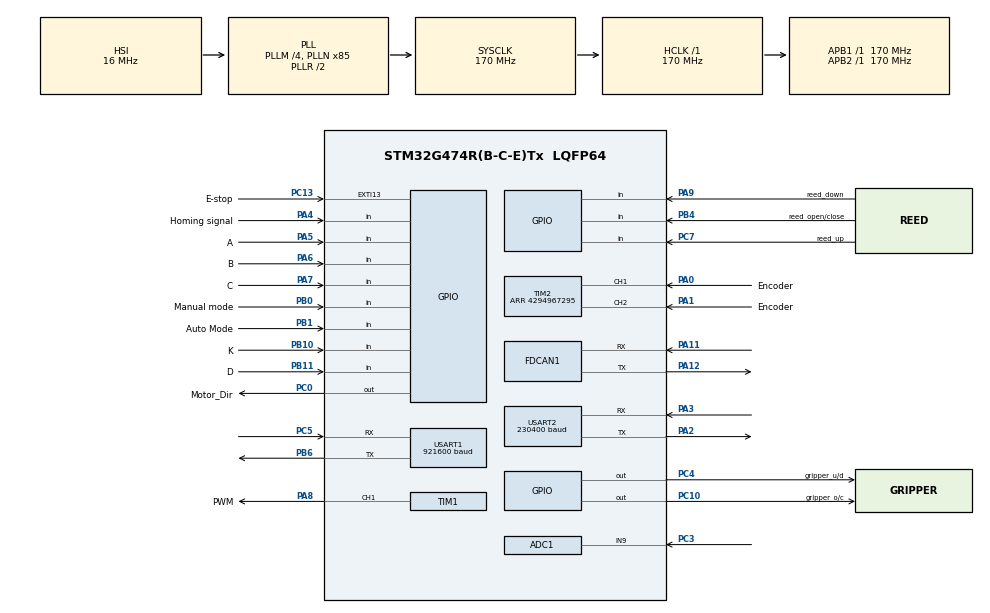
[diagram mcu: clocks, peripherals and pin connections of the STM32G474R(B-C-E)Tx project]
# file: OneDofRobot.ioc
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ADC1.Channel-0\#ChannelRegularConversion=ADC_CHANNEL_9
ADC1.NbrOfConversionFlag=1
ADC1.OffsetNumber-0\#ChannelRegularConversion=ADC_OFFSET_NONE
ADC1.Rank-0\#ChannelRegularConversion=1
ADC1.SamplingTime-0\#ChannelRegularConversion=ADC_SAMPLETIME_640CYCLES_5
ADC1.master=1
FDCAN1.AutoRetransmission=ENABLE
FDCAN1.CalculateBaudRateNominal=500000
FDCAN1.CalculateTimeBitNominal=2000
FDCAN1.CalculateTimeQuantumNominal=200.0
FDCAN1.NominalPrescaler=34
FDCAN1.NominalTimeSeg1=7
FDCAN1.NominalTimeSeg2=2
FDCAN1.StdFiltersNbr=5
Mcu.Family=STM32G4
Mcu.Name=STM32G474R(B-C-E)Tx
Mcu.Package=LQFP64
NVIC.EXTI15_10_IRQn=true\:0\:0\:false\:false\:true\:true\:true\:true
NVIC.PriorityGroup=NVIC_PRIORITYGROUP_4
NVIC.TIM6_DAC_IRQn=true\:1\:0\:true\:false\:true\:true\:true\:true
NVIC.USART2_IRQn=true\:0\:0\:false\:false\:true\:true\:true\:true
PA0.GPIO_Label=Encoder
PA0.Signal=S_TIM2_CH1
PA1.GPIO_Label=Encoder
PA1.Signal=S_TIM2_CH2
PA11.Mode=FDCAN_Activate
PA11.Signal=FDCAN1_RX
PA12.Mode=FDCAN_Activate
PA12.Signal=FDCAN1_TX
PA13.GPIO_Label=T_SWDIO
PA13.Mode=Trace_Asynchronous_SW
PA13.Signal=SYS_JTMS-SWDIO
PA14.GPIO_Label=T_SWCLK
PA14.Mode=Trace_Asynchronous_SW
PA14.Signal=SYS_JTCK-SWCLK
PA2.Mode=Asynchronous
PA2.Signal=USART2_TX
PA3.Mode=Asynchronous
PA3.Signal=USART2_RX
PA4.GPIO_Label=Homing signal
PA4.Signal=GPIO_Input
PA5.GPIO_Label=A
PA5.Signal=GPIO_Input
PA6.GPIO_Label=B
PA6.Signal=GPIO_Input
PA7.GPIO_Label=C
PA7.Signal=GPIO_Input
PA8.GPIO_Label=PWM
PA8.Signal=S_TIM1_CH1
PA9.GPIO_Label=reed_down
PA9.GPIO_PuPd=GPIO_PULLUP
PA9.Signal=GPIO_Input
PB0.GPIO_Label=Manual mode
PB0.GPIO_PuPd=GPIO_PULLUP
PB0.Signal=GPIO_Input
PB1.GPIO_Label=Auto Mode
PB1.GPIO_PuPd=GPIO_PULLUP
PB1.Signal=GPIO_Input
PB10.GPIO_Label=K
PB10.Signal=GPIO_Input
PB11.GPIO_Label=D
PB11.Signal=GPIO_Input
PB3.GPIO_Label=T_SWO
PB3.Mode=Trace_Asynchronous_SW
PB3.Signal=SYS_JTDO-SWO
PB4.GPIO_Label=reed_open/close
PB4.GPIO_PuPd=GPIO_PULLUP
PB4.Signal=GPIO_Input
PB6.Mode=Asynchronous
PB6.Signal=USART1_TX
PC0.GPIO_Label=Motor_Dir
PC0.Signal=GPIO_Output
PC10.GPIO_Label=gripper_o/c
PC10.PinState=GPIO_PIN_SET
PC10.Signal=GPIO_Output
PC13.GPIO_Label=E-stop
PC13.GPIO_ModeDefaultEXTI=GPIO_MODE_IT_RISING_FALLING
PC13.GPIO_PuPd=GPIO_PULLUP
PC13.Signal=GPXTI13
PC14-OSC32_IN.GPIO_Label=RCC_OSC32_IN
PC14-OSC32_IN.Signal=RCC_OSC32_IN
PC15-OSC32_OUT.GPIO_Label=RCC_OSC32_OUT
PC15-OSC32_OUT.Signal=RCC_OSC32_OUT
PC3.Mode=IN9-Single-Ended
PC3.Signal=ADC1_IN9
PC4.GPIO_Label=gripper_u/d
PC4.PinState=GPIO_PIN_SET
PC4.Signal=GPIO_Output
PC5.Mode=Asynchronous
PC5.Signal=USART1_RX
PC7.GPIO_Label=reed_up
PC7.GPIO_PuPd=GPIO_PULLUP
PC7.Signal=GPIO_Input
PF0-OSC_IN.GPIO_Label=RCC_OSC_IN
PF0-OSC_IN.Signal=RCC_OSC_IN
PF1-OSC_OUT.GPIO_Label=RCC_OSC_OUT
PF1-OSC_OUT.Signal=RCC_OSC_OUT
ProjectManager.HeapSize=0x200
ProjectManager.StackSize=0x400
ProjectManager.TargetToolchain=STM32CubeIDE
RCC.ADC12Freq_Value=170000000
RCC.ADC345Freq_Value=170000000
RCC.AHBFreq_Value=170000000
RCC.APB1Freq_Value=170000000
RCC.APB1TimFreq_Value=170000000
RCC.APB2Freq_Value=170000000
RCC.APB2TimFreq_Value=170000000
RCC.CortexFreq_Value=170000000
RCC.EXTERNAL_CLOCK_VALUE=12288000
RCC.HCLKFreq_Value=170000000
RCC.HSE_VALUE=24000000
RCC.HSI48_VALUE=48000000
RCC.HSI_VALUE=16000000
RCC.LSE_VALUE=32768
RCC.PLLM=RCC_PLLM_DIV4
RCC.PLLN=85
RCC.RTCClockSelection=RCC_RTCCLKSOURCE_LSE
RCC.SYSCLKFreq_VALUE=170000000
RCC.SYSCLKSource=RCC_SYSCLKSOURCE_PLLCLK
RCC.USBFreq_Value=170000000
RCC.VCOOutputFreq_Value=340000000
SH.S_TIM1_CH1.0=TIM1_CH1,PWM Generation1 CH1
SH.S_TIM2_CH1.0=TIM2_CH1,Encoder_Interface
SH.S_TIM2_CH2.0=TIM2_CH2,Encoder_Interface
TIM1.Channel-PWM\ Generation1\ CH1=TIM_CHANNEL_1
TIM1.PeriodNoDither=9999
TIM1.Prescaler=9
TIM2.EncoderMode=TIM_ENCODERMODE_TI12
TIM2.IC2Polarity=TIM_ICPOLARITY_RISING
TIM2.PeriodNoDither=4294967295
TIM6.PeriodNoDither=999
TIM6.Prescaler=169
USART1.BaudRate=921600
USART1.VirtualMode-Asynchronous=VM_ASYNC
USART1.WordLength=WORDLENGTH_8B
USART2.BaudRate=230400
USART2.FIFOMode=FIFOMODE_ENABLE
USART2.Parity=PARITY_EVEN
USART2.VirtualMode-Asynchronous=VM_ASYNC
USART2.WordLength=WORDLENGTH_9B
VP_SYS_VS_DBSignals.Mode=DisableDeadBatterySignals
VP_TIM1_VS_ClockSourceINT.Mode=Internal
VP_TIM6_VS_ClockSourceINT.Mode=Enable_Timer
board=NUCLEO-G474RE

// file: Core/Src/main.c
/* USER CODE BEGIN Header */
/**
  ******************************************************************************
  * @file           : main.c
  * @brief          : Main program body
  ******************************************************************************
  * @attention
  *
  * Copyright (c) 2026 STMicroelectronics.
  * All rights reserved.
  *
  * This software is licensed under terms that can be found in the LICENSE file
  * in the root directory of this software component.
  * If no LICENSE file comes with this software, it is provided AS-IS.
  *
  ******************************************************************************
  */
/* USER CODE END Header */
#include "main.h"

/* USER CODE BEGIN Includes */
#include <stdio.h>            /* snprintf — USART1 stream → MATLAB              */
#include "base_system.h"      /* Register map, SystemMode_t, modbus_registers[] */
#include "cascade_control.h"
#include "trajectory.h"
#include "encoder.h"
#include "dashboard.h"        /* Manual Mode Dashboard (Modbus ↔ PC)           */
#include "auto_mission.h"     /* Pick & Place Auto Mission (MODE_AUTO)          */
#include "homing.h"           /* Force-Homing state machine (MODE_HOMING)       */
#include "gripper.h"          /* Gripper: PC4=arm PC10=jaw + reed feedback      */
#include "can_gripper.h"      /* CAN relay node backend for gripper outputs     */
#include "test_mode.h"        /* Performance & Precision test (MODE_TEST)       */
#include "joystick.h"         /* Funduino Joystick Shield (MODE_MANUAL only)    */
#include "volt_test.h"        /* Open-loop voltage excitation (Lab 1 ID)        */
/* USER CODE END Includes */

ADC_HandleTypeDef hadc1;

FDCAN_HandleTypeDef hfdcan1;

TIM_HandleTypeDef htim1;
TIM_HandleTypeDef htim2;
TIM_HandleTypeDef htim6;

UART_HandleTypeDef huart1;
UART_HandleTypeDef huart2;

/* USER CODE BEGIN PV */
int reed_up = 0;
int reed_down = 0;
int reed_close_open = 0;
/* ── Internal Temperature Sensor ─────────────────────────────────────────
 * ดูค่าได้ใน Live Expressions: chip_temp_C
 * G474 internal sensor: ADC1 CH16, cal @ VDDA=3.0V
 * ───────────────────────────────────────────────────────────────────────*/
volatile float chip_temp_C = 0.0f;

/* ── Live Expressions: operating mode & emergency ────────────────────────
 * ดูค่าใน Live Expressions:
 *   debug_op_mode  → 0=Homing 1=Auto 2=Manual 3=Test
 *   debug_selector → 0=Manual 1=Auto  (physical switch)
 *   debug_estop    → 0=OK  1=Emergency active
 * ───────────────────────────────────────────────────────────────────────*/
volatile uint8_t debug_op_mode  = 0;
volatile uint8_t debug_selector = 0;
volatile uint8_t debug_estop    = 0;

Encoder_t henc2;

/* SystemMode_t typedef อยู่ใน base_system.h
 * ประกาศ definition ที่นี่ — base_system.h มี extern declaration แล้ว */
volatile SelectorMode_t selector_mode      = SELECTOR_MANUAL; /* physical switch */
volatile SystemMode_t   current_system_mode = MODE_HOMING;    /* actual mode     */

uint8_t rx_buffer[128];

DMA_HandleTypeDef hdma_usart1_tx;   /* USART1 TX DMA (legacy, ไม่ใช้แล้ว — ย้ายไป USART2) */

/* ── Analysis sub-mode (แก้ผ่าน CubeIDE debugger / Live Expressions เท่านั้น) ──
 *  0 = DASHBOARD (default) → MANUAL ใช้ Modbus ปกติ (dashboard.py)
 *  1 = ANALYSIS           → MANUAL stream CSV ออก USART2 แทน Modbus (เก็บค่า sys ID)
 *  ทำงานเฉพาะ MODE_MANUAL — โหมดอื่น (AUTO/HOMING) ไม่สน                            */
volatile uint8_t analysis_mode = 0;

/* ── สั่ง move ใน analysis mode ผ่าน Live Expressions ────────────────────────
 *  เขียน cmd_deg = องศาเป้าหมาย → หุ่นวิ่งไป (Septic move + cascade AUTO gains)
 *  ใช้สำหรับเก็บ step/move response ทำ sys ID                                   */
volatile float cmd_deg = 0.0f;

/* USER CODE END PV */

void SystemClock_Config(void);
static void MX_GPIO_Init(void);
static void MX_TIM1_Init(void);
static void MX_TIM2_Init(void);
static void MX_TIM6_Init(void);
static void MX_USART2_UART_Init(void);
static void MX_FDCAN1_Init(void);
static void MX_ADC1_Init(void);
static void MX_USART1_UART_Init(void);
/* USER CODE BEGIN PFP */
//Update_Telemetry_To_PC(void);
static void Stream_Update(void);   /* USART1 stream → MATLAB (นิยามใน USER CODE 4) */
static void Stream_DMA_Init(void); /* USART1 TX DMA init */
static void Analysis_Control(void); /* analysis mode: สั่ง move ตาม cmd_deg */
/* USER CODE END PFP */

/* USER CODE BEGIN 0 */

/* ═══════════════════════════════════════════════════════════════════════════
 *  Internal Temperature Sensor — ADC1 CH16 + DMA1 CH1 (bare-metal)
 *
 *  Mode: Continuous conversion + DMA Circular
 *        ADC แปลงตลอดเวลา, DMA เขียนลง adc_dma_buf อัตโนมัติ
 *        TempSensor_Update() ไม่ block — แค่อ่าน buffer แล้วคำนวณ
 *
 *  Clock:    HCLK/4 = 170/4 = 42.5 MHz  (≤ 52 MHz ✓)
 *  Sampling: 640.5 cycles ≈ 15 µs  (datasheet req ≥ 5 µs ✓)
 *  DMA:      DMA1_Channel1, DMAMUX request = 5 (ADC1)
 *  Cal addr: TS_CAL1@30°C = 0x1FFF75A8, TS_CAL2@130°C = 0x1FFF75CA
 * ═══════════════════════════════════════════════════════════════════════════ */
static volatile uint16_t adc_dma_buf = 0;  /* DMA เขียนค่า raw ลงตรงนี้ */

static void TempSensor_Init(void)
{
    /* ── 1. เปิด Clock: ADC12, DMA1, DMAMUX1 ─────────────────────────────── */
    RCC->AHB2ENR |= RCC_AHB2ENR_ADC12EN;
    RCC->AHB1ENR |= RCC_AHB1ENR_DMA1EN | RCC_AHB1ENR_DMAMUX1EN;

    /* ── 2. ADC clock = HCLK/4 (CKMODE=11) ──────────────────────────────── */
    ADC12_COMMON->CCR = (3UL << ADC_CCR_CKMODE_Pos);

    /* ── 3. ออกจาก Deep Power-Down + เปิด Voltage Regulator ─────────────── */
    ADC1->CR &= ~ADC_CR_DEEPPWD;
    ADC1->CR |=  ADC_CR_ADVREGEN;
    for (volatile uint32_t i = 0; i < 5000; i++);      /* ≥ 20 µs @ 170 MHz */

    /* ── 4. เปิด Temperature Sensor + รอ stable ─────────────────────────── */
    /* ADC_CCR_TSEN = bit 23 (ไม่มีใน CMSIS header เพราะ HAL_ADC ไม่ได้ enable) */
    ADC12_COMMON->CCR |= (1UL << 23U);
    for (volatile uint32_t i = 0; i < 30000; i++);     /* ≥ 120 µs stabilize */

    /* ── 5. Calibration (single-ended) ──────────────────────────────────── */
    ADC1->CR &= ~ADC_CR_ADCALDIF;
    ADC1->CR |=  ADC_CR_ADCAL;
    while (ADC1->CR & ADC_CR_ADCAL);

    /* ── 6. Config DMA1_Channel1 → ADC1 (DMAMUX request = 5) ─────────────
     *   Peripheral → Memory, 16-bit, Circular, ไม่ increment memory
     * ─────────────────────────────────────────────────────────────────────*/
    DMAMUX1_Channel0->CCR = 5UL;                        /* ADC1 request */

    DMA1_Channel1->CCR   = 0;
    DMA1_Channel1->CNDTR = 1;                           /* 1 element */
    DMA1_Channel1->CPAR  = (uint32_t)&ADC1->DR;        /* source: ADC data reg */
    DMA1_Channel1->CMAR  = (uint32_t)&adc_dma_buf;     /* dest: our buffer */
    DMA1_Channel1->CCR   = DMA_CCR_CIRC                 /* circular mode */
                          | DMA_CCR_PSIZE_0              /* peripheral 16-bit */
                          | DMA_CCR_MSIZE_0              /* memory 16-bit */
                          | DMA_CCR_EN;                  /* enable DMA */

    /* ── 7. Enable ADC ───────────────────────────────────────────────────── */
    ADC1->ISR |= ADC_ISR_ADRDY;
    ADC1->CR  |= ADC_CR_ADEN;
    while (!(ADC1->ISR & ADC_ISR_ADRDY));

    /* ── 8. Config ADC: Continuous + DMA Circular ───────────────────────── */
    ADC1->CFGR  = ADC_CFGR_CONT      /* continuous conversion */
                | ADC_CFGR_DMAEN     /* DMA enable */
                | ADC_CFGR_DMACFG;   /* DMA circular (ไม่หยุดหลัง 1 conv) */
    ADC1->CFGR2 = 0;

    /* ── 9. Sequence: 1 conv, Channel 16 (VSENSE), sampling 640.5 cyc ───── */
    ADC1->SQR1  = (16UL << ADC_SQR1_SQ1_Pos) | (0UL << ADC_SQR1_L_Pos);
    ADC1->SMPR2 = (7UL << ADC_SMPR2_SMP16_Pos);

    /* ── 10. Start — ADC วิ่งต่อเนื่อง, DMA อัปเดต adc_dma_buf เองตลอด ── */
    ADC1->CR |= ADC_CR_ADSTART;
}

static void TempSensor_Update(void)
{
    /* ไม่ block! — แค่อ่าน buffer ที่ DMA อัปเดตไว้ แล้วคำนวณ */
    uint16_t raw = adc_dma_buf;

    int32_t cal1 = (int32_t)(*(uint16_t*)0x1FFF75A8UL);   /* raw @ 30°C  */
    int32_t cal2 = (int32_t)(*(uint16_t*)0x1FFF75CAUL);   /* raw @ 130°C */

    chip_temp_C = (float)(130 - 30) * (float)((int32_t)raw - cal1)
                / (float)(cal2 - cal1) + 30.0f;
}

/* ── Modbus RTU Echo Filter (Content-based) ─────────────────────────────────
 *
 *  VCP loopback ทำให้ STM32 TX response วนกลับเข้า RX ทุกครั้งที่ส่ง
 *  ใช้ content-based filter แทน timing guard เพื่อความถูกต้องตามมาตรฐาน
 *
 *  ┌──────┬────────────────────────────────────────────────────────────────┐
 *  │ FC   │ วิธีกรอง echo                                                  │
 *  ├──────┼────────────────────────────────────────────────────────────────┤
 *  │ 0x03 │ Size-based: response มีขนาด ≠ 8  → drop                       │
 *  │ 0x06 │ Content-based: เปรียบ frame กับ modbus_echo_buf (one-shot)     │
 *  │ 0x10 │ Size-based: response มีขนาด == 8 → drop                       │
 *  └──────┴────────────────────────────────────────────────────────────────┘
 * ─────────────────────────────────────────────────────────────────────────*/
#include <string.h>   /* memcmp(), memcpy() */
static uint8_t frame_copy[128];

void HAL_UARTEx_RxEventCallback(UART_HandleTypeDef *huart, uint16_t Size)
{
    if (huart->Instance != USART2) return;

    if (Size < 8 || rx_buffer[0] != SLAVE_ID) {
        HAL_UARTEx_ReceiveToIdle_IT(&huart2, rx_buffer, sizeof(rx_buffer));
        return;
    }

    uint8_t fc = rx_buffer[1];

    /* ── Echo filter ── */
    uint8_t is_echo = 0;

    if (fc == 0x03 && Size != 8) {
        /* FC03 response: ขนาด 5+2N ≠ 8 → echo ของ response */
        is_echo = 1;
    }
    else if (fc == 0x10 && Size == 8) {
        /* FC16 response: ขนาดคงที่ 8 bytes → echo ของ response */
        is_echo = 1;
    }
    else if (fc == 0x06 && Size == 8) {
        /* FC06: request กับ response มีขนาดเท่ากัน (8 bytes)
         * ใช้ content + time window (50 ms) — ถ้า echo ไม่มาใน 50 ms
         * echo_valid expire แล้ว → frame นี้คือ request จริง ไม่ใช่ echo */
        if (modbus_echo_valid &&
            (HAL_GetTick() - modbus_echo_time) < 50U &&
            memcmp(rx_buffer, modbus_echo_buf, 8) == 0) {
            modbus_echo_valid = 0;   /* บริโภค echo แล้ว — request ถัดไปผ่านได้ */
            is_echo = 1;
        }
    }

    if (is_echo) {
        HAL_UARTEx_ReceiveToIdle_IT(&huart2, rx_buffer, sizeof(rx_buffer));
        return;
    }

    /* ── Process real request ── */
    uint16_t len = (Size > sizeof(frame_copy)) ? sizeof(frame_copy) : Size;
    memcpy(frame_copy, rx_buffer, len);

    HAL_UARTEx_ReceiveToIdle_IT(&huart2, rx_buffer, sizeof(rx_buffer));
    Modbus_Parse_Frame(frame_copy, len);
}

void HAL_UART_ErrorCallback(UART_HandleTypeDef *huart)
{
    if (huart->Instance == USART2) {
        /* clear error flags ทั้งหมด: ORE, FE, NE, PE */
        __HAL_UART_CLEAR_FLAG(&huart2,
            UART_CLEAR_OREF | UART_CLEAR_NEF |
            UART_CLEAR_FEF  | UART_CLEAR_PEF);
        HAL_UART_AbortReceive(&huart2);  /* reset HAL RX state */
        /* echo ที่กำลังรอรับถูก abort → clear echo_valid ป้องกัน
         * real request ถัดไปถูก drop ว่าเป็น echo ผิดๆ */
        modbus_echo_valid = 0;
        HAL_UARTEx_ReceiveToIdle_IT(&huart2, rx_buffer, sizeof(rx_buffer));
    }
}
/* USER CODE END 0 */

int main(void)
{

  /* MCU Configuration--------------------------------------------------------*/

  /* Reset of all peripherals, Initializes the Flash interface and the Systick. */
  HAL_Init();

  /* Configure the system clock */
  SystemClock_Config();

  /* Initialize all configured peripherals */
  MX_GPIO_Init();
  MX_TIM1_Init();
  MX_TIM2_Init();
  MX_TIM6_Init();
  MX_USART2_UART_Init();
  MX_FDCAN1_Init();
  MX_ADC1_Init();
  MX_USART1_UART_Init();
  /* USER CODE BEGIN 2 */

  /* ── Heartbeat/Modbus ขึ้นก่อนเพื่อนใน USER CODE 2 → หลัง NVIC reset base system
   *    เห็น "alive" ไวสุด (USART2 init แล้วใน auto region ด้านบน) ──────────────*/
  Heartbeat_Init();
  HAL_UART_Transmit(&huart1, (uint8_t*)"UART1 OK\r\n", 10, 100);
  HAL_UARTEx_EnableFifoMode(&huart2);  /* เปิด RX FIFO 8 byte — margin กัน overrun */
  __HAL_UART_CLEAR_OREFLAG(&huart2);   /* เคลียร์ error flags ก่อน */
  HAL_UARTEx_ReceiveToIdle_IT(&huart2, rx_buffer, sizeof(rx_buffer));

  TempSensor_Init();        /* ADC1 CH16 — อ่าน chip_temp_C ใน Live Expressions */
  henc2.htim = &htim2;

  Encoder_Init(&henc2, &htim2);
  HAL_TIM_Encoder_Start(&htim2, TIM_CHANNEL_ALL);
  Cascade_Control_Init();
  HAL_TIM_PWM_Start(&htim1, TIM_CHANNEL_1);
  __HAL_TIM_MOE_ENABLE(&htim1);

  Dashboard_Init();
  AutoMission_Init();
  Homing_Init();
  CanGripper_Init();
  Gripper_Init();
  TestMode_Init();
  Joystick_Init();
  VoltTest_Init();
  Stream_DMA_Init();        /* USART1 TX DMA — stream 1kHz → MATLAB */

  current_system_mode            = MODE_HOMING;
  modbus_registers[REG_SYS_MODE] = MODE_HOMING;
  modbus_registers[REG_BS_TASK]  = TASK_HOMING;
  Homing_Start();
  HAL_TIM_Base_Start_IT(&htim6);

  /* USER CODE END 2 */

  /* Infinite loop */
  while (1)
  {

    /* USER CODE BEGIN 3 */

      Heartbeat_Update();
      CanGripper_Update();
      Stream_Update();          /* USART1 → MATLAB (~500 Hz) */

      /* ── Selector Switch — อ่านตลอดเวลา, priority สูงสุด ──────────────
       *  TIM6 ISR จะบังคับ mode ตาม selector_mode ทุก tick
       * ─────────────────────────────────────────────────────────────────── */
      selector_mode = (HAL_GPIO_ReadPin(Manual_mode_GPIO_Port, Manual_mode_Pin)
                       == GPIO_PIN_RESET)
                      ? SELECTOR_MANUAL : SELECTOR_AUTO;

      /* อ่านอุณหภูมิ chip ทุก 500 ms — ดูใน Live Expressions: chip_temp_C */
      static uint32_t last_temp_ms = 0;
      uint32_t now_ms = HAL_GetTick();
      if (now_ms - last_temp_ms >= 500U) {
          last_temp_ms = now_ms;
          TempSensor_Update();
      }
      reed_up =  HAL_GPIO_ReadPin(GPIOC,GPIO_PIN_7);
      reed_down = HAL_GPIO_ReadPin(GPIOA,GPIO_PIN_9);
      reed_close_open = HAL_GPIO_ReadPin(GPIOB,GPIO_PIN_4);
  }
  /* USER CODE END 3 */
}

void SystemClock_Config(void)
{
  RCC_OscInitTypeDef RCC_OscInitStruct = {0};
  RCC_ClkInitTypeDef RCC_ClkInitStruct = {0};

  /** Configure the main internal regulator output voltage
  */
  HAL_PWREx_ControlVoltageScaling(PWR_REGULATOR_VOLTAGE_SCALE1_BOOST);

  /** Initializes the RCC Oscillators according to the specified parameters
  * in the RCC_OscInitTypeDef structure.
  */
  RCC_OscInitStruct.OscillatorType = RCC_OSCILLATORTYPE_HSI;
  RCC_OscInitStruct.HSIState = RCC_HSI_ON;
  RCC_OscInitStruct.HSICalibrationValue = RCC_HSICALIBRATION_DEFAULT;
  RCC_OscInitStruct.PLL.PLLState = RCC_PLL_ON;
  RCC_OscInitStruct.PLL.PLLSource = RCC_PLLSOURCE_HSI;
  RCC_OscInitStruct.PLL.PLLM = RCC_PLLM_DIV4;
  RCC_OscInitStruct.PLL.PLLN = 85;
  RCC_OscInitStruct.PLL.PLLP = RCC_PLLP_DIV2;
  RCC_OscInitStruct.PLL.PLLQ = RCC_PLLQ_DIV2;
  RCC_OscInitStruct.PLL.PLLR = RCC_PLLR_DIV2;
  if (HAL_RCC_OscConfig(&RCC_OscInitStruct) != HAL_OK)
  {
    Error_Handler();
  }

  /** Initializes the CPU, AHB and APB buses clocks
  */
  RCC_ClkInitStruct.ClockType = RCC_CLOCKTYPE_HCLK|RCC_CLOCKTYPE_SYSCLK
                              |RCC_CLOCKTYPE_PCLK1|RCC_CLOCKTYPE_PCLK2;
  RCC_ClkInitStruct.SYSCLKSource = RCC_SYSCLKSOURCE_PLLCLK;
  RCC_ClkInitStruct.AHBCLKDivider = RCC_SYSCLK_DIV1;
  RCC_ClkInitStruct.APB1CLKDivider = RCC_HCLK_DIV1;
  RCC_ClkInitStruct.APB2CLKDivider = RCC_HCLK_DIV1;

  if (HAL_RCC_ClockConfig(&RCC_ClkInitStruct, FLASH_LATENCY_4) != HAL_OK)
  {
    Error_Handler();
  }
}

static void MX_ADC1_Init(void)
{

  ADC_MultiModeTypeDef multimode = {0};
  ADC_ChannelConfTypeDef sConfig = {0};

  /** Common config
  */
  hadc1.Instance = ADC1;
  hadc1.Init.ClockPrescaler = ADC_CLOCK_SYNC_PCLK_DIV4;
  hadc1.Init.Resolution = ADC_RESOLUTION_12B;
  hadc1.Init.DataAlign = ADC_DATAALIGN_RIGHT;
  hadc1.Init.GainCompensation = 0;
  hadc1.Init.ScanConvMode = ADC_SCAN_DISABLE;
  hadc1.Init.EOCSelection = ADC_EOC_SINGLE_CONV;
  hadc1.Init.LowPowerAutoWait = DISABLE;
  hadc1.Init.ContinuousConvMode = DISABLE;
  hadc1.Init.NbrOfConversion = 1;
  hadc1.Init.DiscontinuousConvMode = DISABLE;
  hadc1.Init.ExternalTrigConv = ADC_SOFTWARE_START;
  hadc1.Init.ExternalTrigConvEdge = ADC_EXTERNALTRIGCONVEDGE_NONE;
  hadc1.Init.DMAContinuousRequests = DISABLE;
  hadc1.Init.Overrun = ADC_OVR_DATA_PRESERVED;
  hadc1.Init.OversamplingMode = DISABLE;
  if (HAL_ADC_Init(&hadc1) != HAL_OK)
  {
    Error_Handler();
  }

  /** Configure the ADC multi-mode
  */
  multimode.Mode = ADC_MODE_INDEPENDENT;
  if (HAL_ADCEx_MultiModeConfigChannel(&hadc1, &multimode) != HAL_OK)
  {
    Error_Handler();
  }

  /** Configure Regular Channel
  */
  sConfig.Channel = ADC_CHANNEL_9;
  sConfig.Rank = ADC_REGULAR_RANK_1;
  sConfig.SamplingTime = ADC_SAMPLETIME_640CYCLES_5;
  sConfig.SingleDiff = ADC_SINGLE_ENDED;
  sConfig.OffsetNumber = ADC_OFFSET_NONE;
  sConfig.Offset = 0;
  if (HAL_ADC_ConfigChannel(&hadc1, &sConfig) != HAL_OK)
  {
    Error_Handler();
  }

}

static void MX_FDCAN1_Init(void)
{

  hfdcan1.Instance = FDCAN1;
  hfdcan1.Init.ClockDivider = FDCAN_CLOCK_DIV1;
  hfdcan1.Init.FrameFormat = FDCAN_FRAME_CLASSIC;
  hfdcan1.Init.Mode = FDCAN_MODE_NORMAL;
  hfdcan1.Init.AutoRetransmission = ENABLE;
  hfdcan1.Init.TransmitPause = DISABLE;
  hfdcan1.Init.ProtocolException = DISABLE;
  hfdcan1.Init.NominalPrescaler = 34;
  hfdcan1.Init.NominalSyncJumpWidth = 1;
  hfdcan1.Init.NominalTimeSeg1 = 7;
  hfdcan1.Init.NominalTimeSeg2 = 2;
  hfdcan1.Init.DataPrescaler = 1;
  hfdcan1.Init.DataSyncJumpWidth = 1;
  hfdcan1.Init.DataTimeSeg1 = 1;
  hfdcan1.Init.DataTimeSeg2 = 1;
  hfdcan1.Init.StdFiltersNbr = 5;
  hfdcan1.Init.ExtFiltersNbr = 0;
  hfdcan1.Init.TxFifoQueueMode = FDCAN_TX_FIFO_OPERATION;
  if (HAL_FDCAN_Init(&hfdcan1) != HAL_OK)
  {
    Error_Handler();
  }

}

static void MX_TIM1_Init(void)
{

  TIM_ClockConfigTypeDef sClockSourceConfig = {0};
  TIM_MasterConfigTypeDef sMasterConfig = {0};
  TIM_OC_InitTypeDef sConfigOC = {0};
  TIM_BreakDeadTimeConfigTypeDef sBreakDeadTimeConfig = {0};

  htim1.Instance = TIM1;
  htim1.Init.Prescaler = 9;
  htim1.Init.CounterMode = TIM_COUNTERMODE_UP;
  htim1.Init.Period = 9999;
  htim1.Init.ClockDivision = TIM_CLOCKDIVISION_DIV1;
  htim1.Init.RepetitionCounter = 0;
  htim1.Init.AutoReloadPreload = TIM_AUTORELOAD_PRELOAD_DISABLE;
  if (HAL_TIM_Base_Init(&htim1) != HAL_OK)
  {
    Error_Handler();
  }
  sClockSourceConfig.ClockSource = TIM_CLOCKSOURCE_INTERNAL;
  if (HAL_TIM_ConfigClockSource(&htim1, &sClockSourceConfig) != HAL_OK)
  {
    Error_Handler();
  }
  if (HAL_TIM_PWM_Init(&htim1) != HAL_OK)
  {
    Error_Handler();
  }
  sMasterConfig.MasterOutputTrigger = TIM_TRGO_RESET;
  sMasterConfig.MasterOutputTrigger2 = TIM_TRGO2_RESET;
  sMasterConfig.MasterSlaveMode = TIM_MASTERSLAVEMODE_DISABLE;
  if (HAL_TIMEx_MasterConfigSynchronization(&htim1, &sMasterConfig) != HAL_OK)
  {
    Error_Handler();
  }
  sConfigOC.OCMode = TIM_OCMODE_PWM1;
  sConfigOC.Pulse = 0;
  sConfigOC.OCPolarity = TIM_OCPOLARITY_HIGH;
  sConfigOC.OCNPolarity = TIM_OCNPOLARITY_HIGH;
  sConfigOC.OCFastMode = TIM_OCFAST_DISABLE;
  sConfigOC.OCIdleState = TIM_OCIDLESTATE_RESET;
  sConfigOC.OCNIdleState = TIM_OCNIDLESTATE_RESET;
  if (HAL_TIM_PWM_ConfigChannel(&htim1, &sConfigOC, TIM_CHANNEL_1) != HAL_OK)
  {
    Error_Handler();
  }
  sBreakDeadTimeConfig.OffStateRunMode = TIM_OSSR_DISABLE;
  sBreakDeadTimeConfig.OffStateIDLEMode = TIM_OSSI_DISABLE;
  sBreakDeadTimeConfig.LockLevel = TIM_LOCKLEVEL_OFF;
  sBreakDeadTimeConfig.DeadTime = 0;
  sBreakDeadTimeConfig.BreakState = TIM_BREAK_DISABLE;
  sBreakDeadTimeConfig.BreakPolarity = TIM_BREAKPOLARITY_HIGH;
  sBreakDeadTimeConfig.BreakFilter = 0;
  sBreakDeadTimeConfig.BreakAFMode = TIM_BREAK_AFMODE_INPUT;
  sBreakDeadTimeConfig.Break2State = TIM_BREAK2_DISABLE;
  sBreakDeadTimeConfig.Break2Polarity = TIM_BREAK2POLARITY_HIGH;
  sBreakDeadTimeConfig.Break2Filter = 0;
  sBreakDeadTimeConfig.Break2AFMode = TIM_BREAK_AFMODE_INPUT;
  sBreakDeadTimeConfig.AutomaticOutput = TIM_AUTOMATICOUTPUT_DISABLE;
  if (HAL_TIMEx_ConfigBreakDeadTime(&htim1, &sBreakDeadTimeConfig) != HAL_OK)
  {
    Error_Handler();
  }
  HAL_TIM_MspPostInit(&htim1);

}

static void MX_TIM2_Init(void)
{

  TIM_Encoder_InitTypeDef sConfig = {0};
  TIM_MasterConfigTypeDef sMasterConfig = {0};

  htim2.Instance = TIM2;
  htim2.Init.Prescaler = 0;
  htim2.Init.CounterMode = TIM_COUNTERMODE_UP;
  htim2.Init.Period = 4294967295;
  htim2.Init.ClockDivision = TIM_CLOCKDIVISION_DIV1;
  htim2.Init.AutoReloadPreload = TIM_AUTORELOAD_PRELOAD_DISABLE;
  sConfig.EncoderMode = TIM_ENCODERMODE_TI12;
  sConfig.IC1Polarity = TIM_ICPOLARITY_RISING;
  sConfig.IC1Selection = TIM_ICSELECTION_DIRECTTI;
  sConfig.IC1Prescaler = TIM_ICPSC_DIV1;
  sConfig.IC1Filter = 0;
  sConfig.IC2Polarity = TIM_ICPOLARITY_RISING;
  sConfig.IC2Selection = TIM_ICSELECTION_DIRECTTI;
  sConfig.IC2Prescaler = TIM_ICPSC_DIV1;
  sConfig.IC2Filter = 0;
  if (HAL_TIM_Encoder_Init(&htim2, &sConfig) != HAL_OK)
  {
    Error_Handler();
  }
  sMasterConfig.MasterOutputTrigger = TIM_TRGO_RESET;
  sMasterConfig.MasterSlaveMode = TIM_MASTERSLAVEMODE_DISABLE;
  if (HAL_TIMEx_MasterConfigSynchronization(&htim2, &sMasterConfig) != HAL_OK)
  {
    Error_Handler();
  }

}

static void MX_TIM6_Init(void)
{

  TIM_MasterConfigTypeDef sMasterConfig = {0};

  htim6.Instance = TIM6;
  htim6.Init.Prescaler = 169;
  htim6.Init.CounterMode = TIM_COUNTERMODE_UP;
  htim6.Init.Period = 999;
  htim6.Init.AutoReloadPreload = TIM_AUTORELOAD_PRELOAD_DISABLE;
  if (HAL_TIM_Base_Init(&htim6) != HAL_OK)
  {
    Error_Handler();
  }
  sMasterConfig.MasterOutputTrigger = TIM_TRGO_RESET;
  sMasterConfig.MasterSlaveMode = TIM_MASTERSLAVEMODE_DISABLE;
  if (HAL_TIMEx_MasterConfigSynchronization(&htim6, &sMasterConfig) != HAL_OK)
  {
    Error_Handler();
  }

}

static void MX_USART1_UART_Init(void)
{

  huart1.Instance = USART1;
  huart1.Init.BaudRate = 921600;
  huart1.Init.WordLength = UART_WORDLENGTH_8B;
  huart1.Init.StopBits = UART_STOPBITS_1;
  huart1.Init.Parity = UART_PARITY_NONE;
  huart1.Init.Mode = UART_MODE_TX_RX;
  huart1.Init.HwFlowCtl = UART_HWCONTROL_NONE;
  huart1.Init.OverSampling = UART_OVERSAMPLING_16;
  huart1.Init.OneBitSampling = UART_ONE_BIT_SAMPLE_DISABLE;
  huart1.Init.ClockPrescaler = UART_PRESCALER_DIV1;
  huart1.AdvancedInit.AdvFeatureInit = UART_ADVFEATURE_NO_INIT;
  if (HAL_UART_Init(&huart1) != HAL_OK)
  {
    Error_Handler();
  }
  if (HAL_UARTEx_SetTxFifoThreshold(&huart1, UART_TXFIFO_THRESHOLD_1_8) != HAL_OK)
  {
    Error_Handler();
  }
  if (HAL_UARTEx_SetRxFifoThreshold(&huart1, UART_RXFIFO_THRESHOLD_1_8) != HAL_OK)
  {
    Error_Handler();
  }
  if (HAL_UARTEx_DisableFifoMode(&huart1) != HAL_OK)
  {
    Error_Handler();
  }

}

static void MX_USART2_UART_Init(void)
{

  huart2.Instance = USART2;
  huart2.Init.BaudRate = 230400;
  huart2.Init.WordLength = UART_WORDLENGTH_9B;
  huart2.Init.StopBits = UART_STOPBITS_1;
  huart2.Init.Parity = UART_PARITY_EVEN;
  huart2.Init.Mode = UART_MODE_TX_RX;
  huart2.Init.HwFlowCtl = UART_HWCONTROL_NONE;
  huart2.Init.OverSampling = UART_OVERSAMPLING_16;
  huart2.Init.OneBitSampling = UART_ONE_BIT_SAMPLE_DISABLE;
  huart2.Init.ClockPrescaler = UART_PRESCALER_DIV1;
  huart2.AdvancedInit.AdvFeatureInit = UART_ADVFEATURE_NO_INIT;
  if (HAL_UART_Init(&huart2) != HAL_OK)
  {
    Error_Handler();
  }
  if (HAL_UARTEx_SetTxFifoThreshold(&huart2, UART_TXFIFO_THRESHOLD_1_8) != HAL_OK)
  {
    Error_Handler();
  }
  if (HAL_UARTEx_SetRxFifoThreshold(&huart2, UART_RXFIFO_THRESHOLD_1_8) != HAL_OK)
  {
    Error_Handler();
  }
  if (HAL_UARTEx_EnableFifoMode(&huart2) != HAL_OK)
  {
    Error_Handler();
  }

}

static void MX_GPIO_Init(void)
{
  GPIO_InitTypeDef GPIO_InitStruct = {0};

  /* GPIO Ports Clock Enable */
  __HAL_RCC_GPIOC_CLK_ENABLE();
  __HAL_RCC_GPIOF_CLK_ENABLE();
  __HAL_RCC_GPIOA_CLK_ENABLE();
  __HAL_RCC_GPIOB_CLK_ENABLE();

  /*Configure GPIO pin Output Level */
  HAL_GPIO_WritePin(Motor_Dir_GPIO_Port, Motor_Dir_Pin, GPIO_PIN_RESET);

  /*Configure GPIO pin Output Level */
  HAL_GPIO_WritePin(GPIOC, gripper_u_d_Pin|gripper_o_c_Pin, GPIO_PIN_SET);

  /*Configure GPIO pin : E_stop_Pin */
  GPIO_InitStruct.Pin = E_stop_Pin;
  GPIO_InitStruct.Mode = GPIO_MODE_IT_RISING_FALLING;
  GPIO_InitStruct.Pull = GPIO_PULLUP;
  HAL_GPIO_Init(E_stop_GPIO_Port, &GPIO_InitStruct);

  /*Configure GPIO pins : Motor_Dir_Pin gripper_u_d_Pin gripper_o_c_Pin */
  GPIO_InitStruct.Pin = Motor_Dir_Pin|gripper_u_d_Pin|gripper_o_c_Pin;
  GPIO_InitStruct.Mode = GPIO_MODE_OUTPUT_PP;
  GPIO_InitStruct.Pull = GPIO_NOPULL;
  GPIO_InitStruct.Speed = GPIO_SPEED_FREQ_LOW;
  HAL_GPIO_Init(GPIOC, &GPIO_InitStruct);

  /*Configure GPIO pins : Homing_signal_Pin A_Pin B_Pin C_Pin */
  GPIO_InitStruct.Pin = Homing_signal_Pin|A_Pin|B_Pin|C_Pin;
  GPIO_InitStruct.Mode = GPIO_MODE_INPUT;
  GPIO_InitStruct.Pull = GPIO_NOPULL;
  HAL_GPIO_Init(GPIOA, &GPIO_InitStruct);

  /*Configure GPIO pins : Manual_mode_Pin Auto_Mode_Pin reed_open_close_Pin */
  GPIO_InitStruct.Pin = Manual_mode_Pin|Auto_Mode_Pin|reed_open_close_Pin;
  GPIO_InitStruct.Mode = GPIO_MODE_INPUT;
  GPIO_InitStruct.Pull = GPIO_PULLUP;
  HAL_GPIO_Init(GPIOB, &GPIO_InitStruct);

  /*Configure GPIO pins : K_Pin D_Pin */
  GPIO_InitStruct.Pin = K_Pin|D_Pin;
  GPIO_InitStruct.Mode = GPIO_MODE_INPUT;
  GPIO_InitStruct.Pull = GPIO_NOPULL;
  HAL_GPIO_Init(GPIOB, &GPIO_InitStruct);

  /*Configure GPIO pin : reed_up_Pin */
  GPIO_InitStruct.Pin = reed_up_Pin;
  GPIO_InitStruct.Mode = GPIO_MODE_INPUT;
  GPIO_InitStruct.Pull = GPIO_PULLUP;
  HAL_GPIO_Init(reed_up_GPIO_Port, &GPIO_InitStruct);

  /*Configure GPIO pin : reed_down_Pin */
  GPIO_InitStruct.Pin = reed_down_Pin;
  GPIO_InitStruct.Mode = GPIO_MODE_INPUT;
  GPIO_InitStruct.Pull = GPIO_PULLUP;
  HAL_GPIO_Init(reed_down_GPIO_Port, &GPIO_InitStruct);

  /* EXTI interrupt init*/
  HAL_NVIC_SetPriority(EXTI15_10_IRQn, 0, 0);
  HAL_NVIC_EnableIRQ(EXTI15_10_IRQn);

}

/* USER CODE BEGIN 4 */

/* ── USART1 stream → MATLAB (PB6=TX, DMA) ───────────────────────────────────
 *  ส่ง CSV 8 ช่อง int×1000 ที่ 1 kHz ผ่าน DMA (non-blocking — ไม่กิน main loop)
 *  คอลัมน์: q_ref,qd_ref,qdd_ref,jerk_ref,q_out,qd_out,qdd_out,V  (MATLAB หาร 1000)
 *  DMA1_Channel2 + DMA_REQUEST_USART1_TX (ADC ใช้ Ch1 อยู่ → ใช้ Ch2)            */
extern volatile float ref_j;   /* jerk-ref (auto_mission.c) */

/* ── Analysis mode controller: สั่ง move ตาม cmd_deg (Live Expressions) ──────
 *  เขียน cmd_deg → Septic move ไปองศานั้น + cascade (AUTO gains). เก็บ response sys ID */
/* =================================================================
 * กำหนด Trajectory ที่ต้องการจะทดสอบ (สำหรับ Lab 3)
 * 1 = Trapezoidal (ความเร่งเป็นขั้นบันได, Jerk กระชาก)
 * 2 = S-Curve     (ความเร่งโค้ง, Jerk คงที่)
 * 3 = Quintic     (S-Curve แบบฟิกเวลา 5th-order)
 * 4 = Septic      (นุ่มที่สุด Jerk ไม่กระชากเลย 7th-order)
 * ================================================================= */
#define TRAJ_SELECT 4   // <--- เปลี่ยนตัวเลขตรงนี้เพื่อสลับโพรไฟล์

static void Analysis_Control(void)
{
    static float   an_prev = 0.0f;
    static uint8_t an_init = 0;

    /* ตัวแปรรับค่าจากโพรไฟล์ */
    float rq = 0.0f, rqd = 0.0f, rqdd = 0.0f, rj = 0.0f;

/* --------------------------------------------------
 * 1. Trapezoidal Profile
 * -------------------------------------------------- */
#if TRAJ_SELECT == 1
    static Trapz_Profile_t prof;
    if (!an_init) { Trapz_Init(&prof); an_prev = cmd_deg; an_init = 1; }

    if (cmd_deg != an_prev) {
        Trapz_MoveTo(&prof, q_out, cmd_deg * (3.14159265f / 180.0f));
        an_prev = cmd_deg;
    }
    Trapz_Update(&prof, &rq, &rqd, &rqdd, &rj);

/* --------------------------------------------------
 * 2. S-Curve Profile
 * -------------------------------------------------- */
#elif TRAJ_SELECT == 2
    static SCurve_Profile_t prof;
    if (!an_init) { SCurve_Init(&prof); an_prev = cmd_deg; an_init = 1; }

    if (cmd_deg != an_prev) {
        SCurve_MoveTo(&prof, q_out, cmd_deg * (3.14159265f / 180.0f));
        an_prev = cmd_deg;
    }
    SCurve_Update(&prof, &rq, &rqd, &rqdd, &rj);

/* --------------------------------------------------
 * 3. Quintic Profile
 * -------------------------------------------------- */
#elif TRAJ_SELECT == 3
    static Quintic_Profile_t prof;
    if (!an_init) { Quintic_Init(&prof); an_prev = cmd_deg; an_init = 1; }

    if (cmd_deg != an_prev) {
        Quintic_MoveTo(&prof, q_out, cmd_deg * (3.14159265f / 180.0f), TRAJ_MOVE_TIME);
        an_prev = cmd_deg;
    }
    Quintic_Update(&prof, &rq, &rqd, &rqdd, &rj);

/* --------------------------------------------------
 * 4. Septic Profile
 * -------------------------------------------------- */
#elif TRAJ_SELECT == 4
    static Septic_Profile_t prof;
    if (!an_init) { Septic_Init(&prof); an_prev = cmd_deg; an_init = 1; }

    if (cmd_deg != an_prev) {
        Septic_MoveTo(&prof, q_out, cmd_deg * (3.14159265f / 180.0f), TRAJ_MOVE_TIME);
        an_prev = cmd_deg;
    }
    Septic_Update(&prof, &rq, &rqd, &rqdd, &rj);

#endif

    // ส่งค่า reference (Pos, Vel, Accel) เข้าสู่ระบบควบคุม
    Cascade_Control_Update_FF(rq, rqd, rqdd);
}

static void Stream_DMA_Init(void)
{
    __HAL_RCC_DMA1_CLK_ENABLE();
    __HAL_RCC_DMAMUX1_CLK_ENABLE();

    hdma_usart1_tx.Instance                 = DMA1_Channel2;
    hdma_usart1_tx.Init.Request             = DMA_REQUEST_USART1_TX;
    hdma_usart1_tx.Init.Direction           = DMA_MEMORY_TO_PERIPH;
    hdma_usart1_tx.Init.PeriphInc           = DMA_PINC_DISABLE;
    hdma_usart1_tx.Init.MemInc              = DMA_MINC_ENABLE;
    hdma_usart1_tx.Init.PeriphDataAlignment = DMA_PDATAALIGN_BYTE;
    hdma_usart1_tx.Init.MemDataAlignment    = DMA_MDATAALIGN_BYTE;
    hdma_usart1_tx.Init.Mode                = DMA_NORMAL;
    hdma_usart1_tx.Init.Priority            = DMA_PRIORITY_LOW;
    HAL_DMA_Init(&hdma_usart1_tx);

    __HAL_LINKDMA(&huart1, hdmatx, hdma_usart1_tx);

    /* IRQ — priority ต่ำกว่า TIM6 control (เลขมาก = ด่วนน้อย) ไม่กวน 1kHz loop */
    HAL_NVIC_SetPriority(DMA1_Channel2_IRQn, 6, 0);
    HAL_NVIC_EnableIRQ(DMA1_Channel2_IRQn);
    HAL_NVIC_SetPriority(USART1_IRQn, 6, 0);
    HAL_NVIC_EnableIRQ(USART1_IRQn);
}

/* IRQ handlers (override weak symbol จาก startup) */
void DMA1_Channel2_IRQHandler(void) { HAL_DMA_IRQHandler(&hdma_usart1_tx); }
void USART1_IRQHandler(void)        { HAL_UART_IRQHandler(&huart1); }

/* ── ANALYSIS stream → USART2 (COM9 ST-Link VCP, 230400 8-E-1) — BINARY 8 ช่อง @ 1kHz
 *  MANUAL + analysis_mode==1 → frame 18 byte = [0xAA 0x55] + 8×int16 LE (signed = มีทิศ)
 *  8 ช่อง ASCII ไม่พอ bandwidth 230400 → ใช้ binary (18 byte × 1000 = 18kB/s พอดี)
 *  Simulink: Serial Configuration (Parity=Even) + Serial Receive (Header [170 85], int16, 8)
 *  คอลัมน์: q_ref qd_ref qdd_ref jerk q_out qd_out qdd_out V
 *  scale: q,qd,V ×1000 | qdd ×100 | jerk ×10  (Simulink หารกลับ)                  */
static inline int16_t sat16(float x) {
    if (x >  32767.0f) return  32767;
    if (x < -32768.0f) return -32768;
    return (int16_t)x;
}

static void Stream_Update(void)
{
    if (current_system_mode != MODE_MANUAL || analysis_mode != 1) return;

    static uint32_t last = 0;
    if (HAL_GetTick() - last < 1U) return;              /* 1 kHz (Ts = 0.001) */
    last = HAL_GetTick();
    if (huart2.gState != HAL_UART_STATE_READY) return;  /* กันชน Modbus/stream TX ก่อนหน้า */

    /* ขยาย Array เป็น 17 ช่อง (14 เดิม + 3 ของ Lab 3) */
    int16_t v[17];
    v[0] = sat16(mon_q_ref   * 1000.0f);
    v[1] = sat16(mon_qd_ref  * 1000.0f);
    v[2] = sat16(mon_qdd_ref *  100.0f);
    v[3] = sat16(mon_j_out   *   10.0f);  /* เปลี่ยนจาก ref_j เป็น mon_j_out (actual jerk) */
    v[4] = sat16(mon_q_out   * 1000.0f);
    v[5] = sat16(mon_qd_out  * 1000.0f);
    v[6] = sat16(mon_qdd_out *  100.0f);
    v[7] = sat16(mon_v_in    * 1000.0f);

    /* ชุดตัวแปร PID debug */
    v[8]  = sat16(mon_u_pos  * 1000.0f);  /* u หลังออกจาก pos controller (ก่อนบวก ref_qd) */
    v[9]  = sat16(mon_u_vel  * 1000.0f);  /* u ของ velo controller (V_VEL) */
    v[10] = sat16(mon_v_ff   * 1000.0f);  /* Feedforward velocity */
    v[11] = sat16(mon_v_acc  * 1000.0f);  /* Feedforward acceleration */
    v[12] = sat16(mon_v_fric * 1000.0f);  /* Coulomb / Friction comp */
    v[13] = sat16(mon_v_dist * 1000.0f);  /* Disturbance comp */

    /* ── ชุด Lab 3 (Kalman) ── */
    v[14] = sat16(mon_qd_fd  * 1000.0f);  /* finite-diff velocity ดิบ (เทียบ KF, item 5) */
    v[15] = sat16(mon_tau_d  * 1000.0f);  /* KF disturbance τ_d [N.m]  (item 2) */
    v[16] = sat16(mon_i_est  * 1000.0f);  /* KF current i      [A]     (item 2) */

    /* ขนาด Frame = Header(2) + (17 ข้อมูล * 2 ไบต์) = 36 ไบต์ */
    static uint8_t fr[36];
    fr[0] = 0xAA; fr[1] = 0x55;
    for (int i = 0; i < 17; i++) {
        fr[2 + i*2] = (uint8_t)(v[i] & 0xFF);           /* little-endian */
        fr[3 + i*2] = (uint8_t)((v[i] >> 8) & 0xFF);
    }
    HAL_UART_Transmit_IT(&huart2, fr, sizeof(fr));
}

void HAL_GPIO_EXTI_Callback(uint16_t GPIO_Pin)
{
    if (GPIO_Pin == GPIO_PIN_13) // ตรวจสอบว่าใช่ขา PC13 หรือไม่
    {
    	// อ่านค่าสถานะปัจจุบันของปุ่ม (PC13 Pull-up: กด=0, ปล่อย=1)
		if (HAL_GPIO_ReadPin(GPIOC, GPIO_PIN_13) == GPIO_PIN_RESET)
		{
			/* ── กดปุ่ม E-Stop ─────────────────────────────────────── */
            __HAL_TIM_SET_COMPARE(&htim1, TIM_CHANNEL_1, 0);
            __HAL_TIM_MOE_DISABLE(&htim1);
			/* 1. เริ่มเบรกนุ่ม (hybrid) — ยังไม่ตัด MOE
			 *    TIM6 ISR จะ decel ~150ms แล้วค่อยตัดไฟ. ไม่ Cascade_Control_Reset
			 *    ที่นี่ เพราะต้องคง velocity estimate (KF) ไว้ให้เบรกได้             */
			modbus_registers[REG_ESTOP]  = 1;   /* บอก PC: E-Stop active */
			modbus_registers[REG_RUN]    = 0;   /* หยุด Dashboard loop      */
			modbus_registers[REG_VT_MODE] = 0;  /* หยุด open-loop volt test */

			/* 2. clear mission state (hold ปลอดภัย + gripper abort) — ไม่แตะ KF */
			AutoMission_Reset();
			TestMode_Reset();
		}
		else
		{
			/* ── ปุ่มตู้ถูกปล่อย → clear ESTOP + เปิด MOE + กลับไปทำ HOMING ใหม่ ──
			 * สเปก: ปลด emergency แล้วหุ่นต้อง reset homing (หา home ด้วย sensor)
			 * ใหม่ทุกครั้ง — ไม่ resume ตำแหน่งเดิม (ตำแหน่ง encoder อาจเพี้ยน
			 * ระหว่างที่ตัดไฟ motor drive)                                         */
			if (modbus_registers[REG_ESTOP] == 1) {
				NVIC_SystemReset();
			}
		}
    }
}

void HAL_TIM_PeriodElapsedCallback(TIM_HandleTypeDef *htim)
{
    if (htim->Instance != TIM6) return;  /* รันทุกๆ 1 ms (DT_VEL) */

    /* ── Pending start flags (ต้องเป็น static ให้จำค่าได้) ── */
    static uint8_t pending_auto_ticks = 0;
    static uint8_t pending_test_ticks = 0;
    static uint8_t auto_start_pending = 0;

    /* ── Debug counter (อ่านได้จาก REG_ISR_CNT) ── */
    modbus_registers[REG_ISR_CNT]++;

    /* ── Live Expressions monitor ── */
    debug_op_mode  = (uint8_t)current_system_mode;
    debug_selector = (uint8_t)selector_mode;
    debug_estop    = (uint8_t)modbus_registers[REG_ESTOP];

    /* ══════════════════════════════════════════════════════════════════════
     *  Priority 1 (สูงสุด): Homing กำลังทำงานอยู่ — ห้ามแทรก
     * ═════════════════════════════════════════════════════════════════════*/
    if (current_system_mode == MODE_HOMING) {
        Homing_Update();
        modbus_registers[REG_SYS_MODE] = MODE_HOMING;
        return;
    }

    /* ══════════════════════════════════════════════════════════════════════
     *  GLOBAL SOFT STOP (ปุ่ม STOP บน base system → REG_BS_SOFT_STOP 0x25 = 1)
     *  หยุดทุกอย่างทันทีในทุกโหมด (MANUAL/AUTO/TEST + joystick) — มอเตอร์ดับ
     *  ต่างจาก E-Stop: ไม่ตัด MOE, ไม่ latch ESTOP → base เคลียร์ 0x25=0 แล้วสั่งใหม่ได้
     * ═════════════════════════════════════════════════════════════════════*/
    if (modbus_registers[REG_BS_SOFT_STOP] & 0x0001) {
        AutoMission_Reset();      /* clear P&P state machine                 */
        TestMode_Reset();         /* clear test state machine                */
        modbus_registers[REG_RUN]     = 0;          /* หยุด dashboard loop    */
        modbus_registers[REG_BS_MODE] = 0;          /* ทิ้ง mode command ค้าง */
        modbus_registers[REG_BS_TASK] = TASK_IDLE;
        __HAL_TIM_SET_COMPARE(&htim1, TIM_CHANNEL_1, 0);   /* มอเตอร์ดับ (override hold) */
        Gripper_Update();         /* reed telemetry ยัง update ได้           */
        return;
    }

    /* ══════════════════════════════════════════════════════════════════════
     *  Priority 2: Selector switch หน้าตู้ = MANUAL → บังคับ MODE_MANUAL
     *  ★ joystick + dashboard + gripper manual ทำงานเฉพาะตรงนี้ ★
     *  base system mode command (0x01) ถูกทิ้งทั้งหมด → joystick ทำงาน "เหมือนเดิม"
     * ═════════════════════════════════════════════════════════════════════*/
    if (selector_mode == SELECTOR_MANUAL) {
        /* เพิ่งสลับเข้า MANUAL → clear auto/test state ครั้งเดียว (กัน reset รัวๆ) */
        if (current_system_mode != MODE_MANUAL) {
            AutoMission_Reset();
            TestMode_Reset();
            Cascade_Control_Reset();
            current_system_mode = MODE_MANUAL;
        }
        modbus_registers[REG_BS_MODE]  = 0;          /* ทิ้ง mode command จาก base */
        modbus_registers[REG_SYS_MODE] = MODE_MANUAL;

        pending_auto_ticks = 0;
        pending_test_ticks = 0;
        auto_start_pending = 0;

        /* ── Open-loop voltage test (Lab 1 ID) — bypass controller ──────────
         * ทำงานเมื่อ REG_VT_MODE != 0 และไม่ ESTOP. จ่าย V ตรง + KF + 1kHz logger
         * (joystick e-stop ปุ่ม A ไม่ทำงานช่วงนี้ — ใช้ปุ่มตู้ หรือ STOP บน dashboard) */
        if (modbus_registers[REG_VT_MODE] != 0 && modbus_registers[REG_ESTOP] == 0) {
            VoltTest_Update();
            return;
        }

        /* ── Analysis mode: สั่ง move ผ่าน cmd_deg (Live Expressions) → sys ID ── */
        if (analysis_mode == 1 && modbus_registers[REG_ESTOP] == 0) {
            Analysis_Control();
            return;
        }

        /* Joystick ก่อน — คืน 1 = joystick กำลัง drive motor → ข้าม Dashboard
         * (กัน joystick กับ dashboard/jog แย่งสั่งมอเตอร์)                 */
        uint8_t joy_active = Joystick_Update();

        /* ── E-Stop ค้าง (joystick A / ปุ่มตู้ PC13) → freeze ──────────────────
         * เรียก Joystick_Update ด้านบนแล้ว (รับปุ่ม A กดซ้ำเพื่อ reset ได้) แต่
         * ห้าม drive มอเตอร์/กระตุ้น gripper ต่อ — ตัด compare ไว้ (กันมอเตอร์ขยับ
         * แม้ MOE หลุด) ส่วน gripper ถูก Abort → safe ตั้งแต่ตอน latch แล้ว ค้างนิ่ง */
        if (modbus_registers[REG_ESTOP]) {
            __HAL_TIM_SET_COMPARE(&htim1, TIM_CHANNEL_1, 0);
        } else {
            if (!joy_active) {
                Dashboard_Update();   /* base jog (0x05) + telemetry */
            }
            Gripper_Update();         /* manual gripper (0x02/0x03) + reed */
        }

        /* ── เขียน base telemetry (0x28/0x29/0x30) ใน MANUAL ───────────────────
         * joystick (free/point) bypass cascade → KF ไม่อัปเดต ต้องคำนวณ vel/acc
         * จาก encoder เอง. POS = deg ×10, VEL/ACC = rad/s,rad/s² ×10 (ตรงป้าย UI)
         *
         * ★ vel/acc วัดบน window 10ms ไม่ใช่ทุก 1ms:
         *   encoder 1 count = 2π/8192 = 7.67e-4 rad. ถ้า diff ทุก 1ms, 1 count/tick
         *   = 0.767 rad/s, accel พุ่งสูง → ×10 เสี่ยงทะลุ int16 wrap.
         *   window 10ms ลด quantization step 10× + EMA + clamp                      */
        Encoder_Update(&henc2);

        static float   bs_win_prev_rad = 0.0f;   /* pos ตอนต้น window 10ms [rad] */
        static float   bs_vel_ema      = 0.0f;   /* [rad/s]  */
        static float   bs_prev_vel     = 0.0f;
        static float   bs_acc_ema      = 0.0f;   /* [rad/s²] */
        static uint8_t bs_win_tick     = 0;

        /* POS — ทุก tick [deg ×10] */
        modbus_registers[REG_BS_POS] = (uint16_t)(int16_t)(henc2.position_deg * 10.0f * BS_DIR_SIGN);

        /* VEL/ACC — ทุก 10ms (window finite-diff, หน่วย rad ให้ตรงป้าย UI) */
        if (++bs_win_tick >= 10U) {
            bs_win_tick = 0;

            float pos_rad   = henc2.position_rad;
            float vel_raw   = (pos_rad - bs_win_prev_rad) * 100.0f;  /* rad/s (÷0.01) */
            bs_win_prev_rad = pos_rad;
            bs_vel_ema     += 0.3f * (vel_raw - bs_vel_ema);

            float acc_raw   = (bs_vel_ema - bs_prev_vel) * 100.0f;   /* rad/s² (÷0.01) */
            bs_prev_vel     = bs_vel_ema;
            bs_acc_ema     += 0.3f * (acc_raw - bs_acc_ema);

            /* ×10 ให้ตรง decode ฝั่ง BS (÷10); clamp กัน int16 overflow */
            float vel_q = bs_vel_ema * 10.0f * BS_DIR_SIGN;
            float acc_q = bs_acc_ema * 10.0f * BS_DIR_SIGN;
            if      (vel_q >  32767.0f) vel_q =  32767.0f;
            else if (vel_q < -32768.0f) vel_q = -32768.0f;
            if      (acc_q >  32767.0f) acc_q =  32767.0f;
            else if (acc_q < -32768.0f) acc_q = -32768.0f;

            modbus_registers[REG_BS_VEL] = (uint16_t)(int16_t)vel_q;
            modbus_registers[REG_BS_ACC] = (uint16_t)(int16_t)acc_q;
        }

        return;
    }

    /* ══════════════════════════════════════════════════════════════════════
     *  Priority 3: Selector switch = AUTO → base system ควบคุมผ่าน REG_BS_MODE
     *  ★ base auto ทำงานได้ "ก็ต่อเมื่อ selector = AUTO" เท่านั้น ★
     *  (joystick ไม่ทำงานฝั่งนี้ — manual ใช้สวิตช์หน้าตู้อย่างเดียว)
     *    0x01 bit0 HOME → go-home | bit1 JOG → PP_JOG | bit2 AUTO → Pick&Place
     *    bit3 SET_HOME → zero encoder | bit4 TEST → Performance/Precision
     * ═════════════════════════════════════════════════════════════════════*/

    /* selector เพิ่งโยก MANUAL → AUTO แต่ mode ยังค้าง MANUAL → ออกมาเป็น AUTO idle */
    if (current_system_mode == MODE_MANUAL) {
        Cascade_Control_Reset();
        AutoMission_Reset();

        pending_auto_ticks = 0;
        pending_test_ticks = 0;
        auto_start_pending = 0;

        current_system_mode            = MODE_AUTO;
        modbus_registers[REG_SYS_MODE] = MODE_AUTO;
    }

    uint16_t bs_cmd = modbus_registers[REG_BS_MODE];

    if (bs_cmd != 0 && modbus_registers[REG_ESTOP] == 0) {

        /* command register เป็น pulse → clear ทันที */
        modbus_registers[REG_BS_MODE] = 0;

        if (bs_cmd & REG_BS_MODE_HOME) {

            /* BS "Go Home" = controlled move กลับ position 0 (ใช้ cascade control)
             * ต่างจาก force homing ตอน boot (raw-seek หา flag) — ไม่ re-home flag */
            AutoMission_Reset();

            pending_auto_ticks = 0;
            pending_test_ticks = 0;
            auto_start_pending = 0;

            modbus_registers[REG_RUN]      = 0;

            AutoMission_GoHome();          /* Septic move → 0 (controlled) */

            current_system_mode            = MODE_AUTO;
            modbus_registers[REG_BS_TASK]  = TASK_HOMING;
        }

        else if (bs_cmd & REG_BS_MODE_JOG) {

            /* base MANUAL/Jog tab → MODE_AUTO + PP_JOG_IDLE (jog ผ่าน 0x05)
             * NB: MODE_MANUAL จริงสงวนไว้ให้สวิตช์หน้าตู้เท่านั้น                */
            Cascade_Control_Reset();
            AutoMission_Reset();

            pending_auto_ticks = 0;
            pending_test_ticks = 0;
            auto_start_pending = 0;

            modbus_registers[REG_RUN] = 0;

            AutoMission_StartJog();        /* → PP_JOG_IDLE */

            current_system_mode = MODE_AUTO;
        }

        else if (bs_cmd & REG_BS_MODE_AUTO) {

            /* กัน BS refresh AUTO command ซ้ำ */
            if (!auto_start_pending) {
                Cascade_Control_Reset();
                AutoMission_Reset();

                pending_test_ticks = 0;
                pending_auto_ticks = 150;
                auto_start_pending = 1;
            }

            current_system_mode = MODE_AUTO;
        }

        else if (bs_cmd & REG_BS_MODE_SET_HOME) {
            /* zero encoder ที่ตำแหน่งปัจจุบัน — ไม่เปลี่ยนโหมด */
            Homing_SetHome();
        }

        else if (bs_cmd & REG_BS_MODE_TEST) {

            /* guard: เริ่ม test ใหม่เฉพาะตอนเปลี่ยนเข้า TEST (กัน re-send รีสตาร์ทรัวๆ) */
            if (current_system_mode != MODE_TEST) {
                Cascade_Control_Reset();
                AutoMission_Reset();

                pending_auto_ticks = 0;
                pending_test_ticks = 150;
                auto_start_pending = 0;

                current_system_mode = MODE_TEST;
            }
        }
    }

    /* ── Pending start countdown (รอ ~150ms ให้ params ลงครบก่อน start) ── */
    if (pending_auto_ticks > 0) {
        if (--pending_auto_ticks == 0) {
            auto_start_pending = 0;
            AutoMission_StartAuto();
        }
    }

    if (pending_test_ticks > 0) {
        if (--pending_test_ticks == 0) {
            TestMode_Start();
        }
    }

    /* ══════════════════════════════════════════════════════════════════════
     *  Operating mode dispatch
     * ═════════════════════════════════════════════════════════════════════*/
    switch (current_system_mode) {
        /* MODE_MANUAL จัดการใน Priority 2 (selector=MANUAL) แล้ว return ก่อนถึงนี่
         * → ที่นี่เหลือแค่ AUTO / TEST (selector=AUTO)                        */
        case MODE_AUTO:
            AutoMission_Update();
            break;

        case MODE_TEST:
            TestMode_Update();
            break;

        default:
            break;
    }

    /* ── Report current mode (0x32) ── */
    modbus_registers[REG_SYS_MODE] = (uint16_t)current_system_mode;
}

/* USER CODE END 4 */

void Error_Handler(void)
{
  __disable_irq();
  while (1)
  {
  }
}
